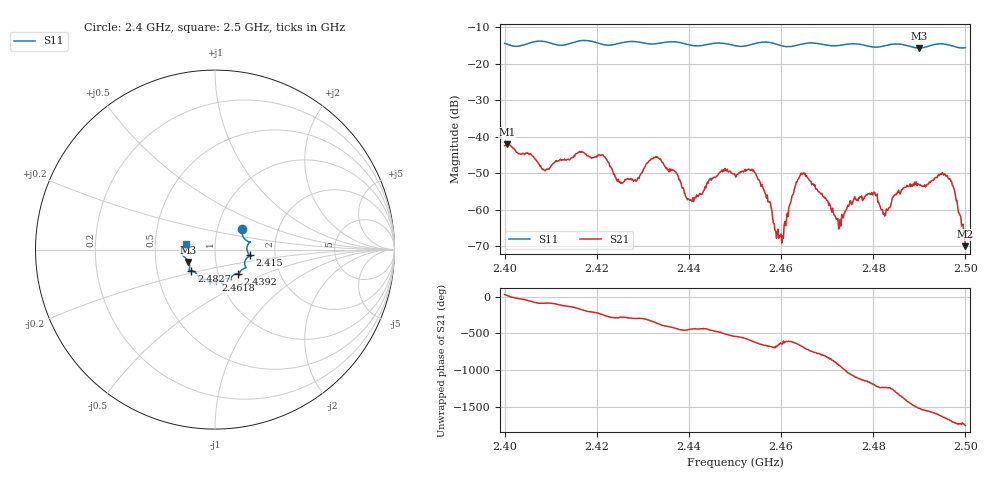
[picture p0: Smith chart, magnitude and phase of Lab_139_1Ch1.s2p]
# Hz S RI R 50
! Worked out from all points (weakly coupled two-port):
!   601 points, 2.4 GHz to 2.5 GHz, reference 50 ohm
!   highest |S21| = -42.12 dB at 2.4005 GHz (marker M1); lowest = -70.0 dB at 2.5 GHz (marker M2)
!   lowest |S11| = -15.7 dB at 2.49 GHz (marker M3), VSWR 1.39, Z = 36.8 - j5.24 ohm
!   |S11| at or under -10 dB: start of sweep to end of sweep
!   S12 and S22 are empty: the file has one direction only
!   S11 on the Smith chart (normalised r, x): 2.4 GHz: 1.31, +0.31; 2.415 GHz: 1.47, -0.10; 2.4392 GHz: 1.24, -0.35; 2.4618 GHz: 0.95, -0.34; 2.4827 GHz: 0.75, -0.18; 2.5 GHz: 0.72, +0.05
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2.4e9  0.1509 0.1142  0.00654 0.00369  0 0  0 0
2.4005e9  0.1503 0.1073  0.00745 0.00243  0 0  0 0
2.4085e9  0.1965 0.0423  1.82e-05 -0.00355  0 0  0 0
2.415e9  0.1929 -0.0312  -0.00437 -0.0032  0 0  0 0
2.416667e9  0.2032 -0.0379  -0.00625 -0.000521  0 0  0 0
2.4215e9  0.1746 -0.0501  -0.00173 0.00514  0 0  0 0
2.425333e9  0.1684 -0.0928  0.000358 0.00234  0 0  0 0
2.433333e9  0.1362 -0.131  0.00505 -0.000657  0 0  0 0
2.439167e9  0.1275 -0.1361  -0.00021 -0.00163  0 0  0 0
2.45e9  0.0714 -0.161  -0.00298 3.76e-05  0 0  0 0
2.454167e9  0.0399 -0.1828  -0.000762 0.00321  0 0  0 0
2.46e9  0.0304 -0.1737  3.9e-05 0.000463  0 0  0 0
2.461833e9  0.00612 -0.1707  -0.000392 0.00107  0 0  0 0
2.464333e9  -0.022 -0.1828  0.00208 0.00239  0 0  0 0
2.466667e9  -0.0269 -0.19  0.00199 -0.000893  0 0  0 0
2.4725e9  -0.0659 -0.1642  -0.000446 0.000313  0 0  0 0
2.479167e9  -0.0987 -0.1408  0.000235 -0.00165  0 0  0 0
2.482667e9  -0.1318 -0.1174  -0.000769 -0.000331  0 0  0 0
2.483333e9  -0.1375 -0.1167  -0.000994 -0.000338  0 0  0 0
2.49e9  -0.148 -0.0693  0.000304 -0.00215  0 0  0 0
2.4965e9  -0.1784 -0.0205  -0.00144 0.00221  0 0  0 0
2.5e9  -0.1622 0.0311  0.000223 0.000224  0 0  0 0
